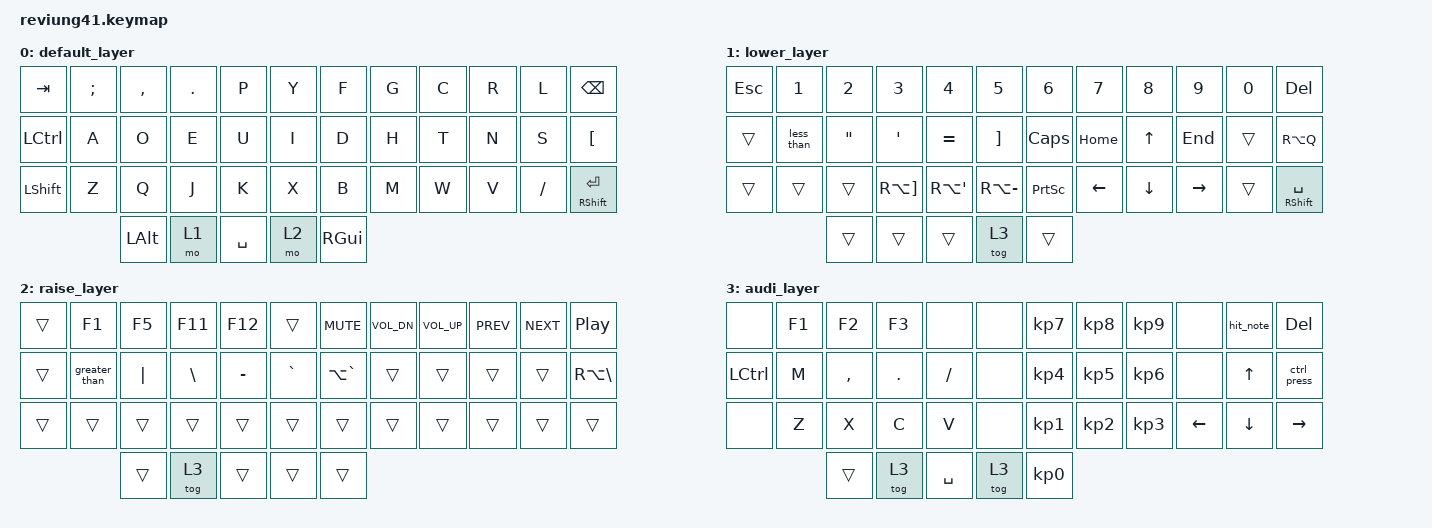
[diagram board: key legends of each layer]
/*
 * Copyright (c) 2020 The ZMK Contributors
 *
 * SPDX-License-Identifier: MIT
 */

#include <behaviors.dtsi>
#include <dt-bindings/zmk/keys.h>
#include <dt-bindings/zmk/bt.h>

/ {
    macros {
        less_than: less_than {
            label = "ZM_less_than";
            compatible = "zmk,behavior-macro";
            #binding-cells = <0>;
            bindings
                = <&macro_press   &kp LALT>
                , <&macro_tap     &kp KP_N6 &kp KP_N0>
                , <&macro_release &kp LALT>
                ;
        };
        greater_than: greater_than {
            label = "ZM_greater_than";
            compatible = "zmk,behavior-macro";
            #binding-cells = <0>;
            bindings
                = <&macro_press   &kp LALT>
                , <&macro_tap     &kp KP_N6 &kp KP_N2>
                , <&macro_release &kp LALT>
                ;
        };
        hit_note: hit_note {
            label = "ZM_hit_note";
            compatible = "zmk,behavior-macro";
            #binding-cells = <0>;
            bindings
                = <&macro_press   &kp LSHFT>
                , <&macro_tap &kp SPACE &kp UP>
                , <&macro_pause_for_release>
                , <&macro_release &kp LSHFT>
                ;
        };
        ctrl_press: ctrl_press {
            label = "ZM_ctrl_press";
            compatible = "zmk,behavior-macro";
            #binding-cells = <0>;
            bindings
                = <&macro_tap &kp LCTRL &kp RCTRL>
                , <&macro_tap &kp LCTRL &kp RCTRL>
                , <&macro_tap &kp LCTRL &kp RCTRL>
                , <&macro_tap &kp LCTRL &kp RCTRL>
                , <&macro_tap &kp LCTRL &kp RCTRL>
                , <&macro_tap &kp LCTRL &kp RCTRL>
                , <&macro_tap &kp LCTRL &kp RCTRL>
                , <&macro_tap &kp LCTRL &kp RCTRL>
                , <&macro_tap &kp LCTRL &kp RCTRL>
                , <&macro_tap &kp LCTRL &kp RCTRL>
                ;
        };
    };
};

/ {
        keymap {
                compatible = "zmk,keymap";

                default_layer {
// --------------------------------------------------------------------------------------
// |  TAB |  Ñ  |  ,  |  .  |  P  |  Y  |   |  F  |  G  |  C  |  R  |  L  |    BKSP     |
// | CTRL |  A  |  O  |  E  |  U  |  I  |   |  D  |  H  |  T  |  N  |  S  |      ´      |
// | SHFT |  Z  |  Q  |  J  |  K  |  X  |   |  B  |  M  |  W  |  V  |  -  | SHFT(ENTER) |
//                         | ALT | LWR | SPC | RSE  | WIN |
                        bindings = <
   &kp TAB   &kp SEMI &kp COMMA &kp DOT &kp P &kp Y   &kp F &kp G  &kp C  &kp R  &kp L    &kp BSPC
   &kp LCTRL &kp A    &kp O     &kp E   &kp U &kp I   &kp D &kp H  &kp T  &kp N  &kp S    &kp LBKT
   &kp LSHFT &kp Z    &kp Q     &kp J   &kp K &kp X   &kp B &kp M  &kp W  &kp V  &kp FSLH &mt RSHFT ENTER
                        &kp LALT  &mo 1 &kp SPACE &mo 2  &kp RGUI
                        >;
                };

                lower_layer {
// ----------------------------------------------------------------------------------------
// | ESC | 1 ! | 2 " | 3 # | 4 $ | 5 % |   | 6  & | 7 /  | 8 ( | 9 ) | 0 =  |     DEL     |
// |     |  <  |  [  |  {  |  ¿  | + * |   | CAPS | HOME | UP  | END |      |      @      |
// |     |     |     |  ~  |  ^  |  \  |   | PRSC | LFT  | DWN | RGT |      | SHFT(SPACE) |
//                        |     |     |     | ADJ |     |
                        bindings = <
   &kp ESC &kp N1     &kp N2      &kp N3       &kp N4        &kp N5         &kp N6    &kp N7    &kp N8    &kp N9    &kp N0    &kp DEL
   &trans  &less_than &kp DQT     &kp SQT      &kp EQUAL     &kp RBKT       &kp CLCK  &kp HOME  &kp UP    &kp END   &trans    &kp RA(Q)
   &trans  &trans     &trans      &kp RA(RBKT) &kp RA(SQT)   &kp RA(MINUS)  &kp PSCRN &kp LEFT  &kp DOWN  &kp RIGHT &trans    &mt RSHFT SPACE
                                 &trans      &trans       &trans         &tog 3       &trans
                        >;
                };

                raise_layer {
// ----------------------------------------------------------------------------------
// |    | F1  | F5  | F11 | F12 |     |   | MUTE | VOL- | VOL+ | PREV | NEXT | PLAY |
// |    |  >  |  ]  |  }  |  ?  | | ° |   | vSUG |      |      |      |      |  `   |
// |    |     |     |     |     |     |   |      |      |      |      |      |      |
//                       |     | ADJ |     |     |      |
                        bindings = <
   &trans &kp F1        &kp F5    &kp F11   &kp F12       &trans        &kp C_MUTE    &kp C_VOL_DN &kp C_VOL_UP &kp C_PREV &kp C_NEXT &kp C_PP
   &trans &greater_than &kp PIPE  &kp BSLH  &kp MINUS     &kp GRAVE     &kp LA(GRAVE) &trans       &trans       &trans     &trans     &kp RA(BSLH)
   &trans &trans        &trans    &trans    &trans        &trans        &trans        &trans       &trans       &trans     &trans     &trans
                                &trans      &tog 3       &trans          &trans      &trans
                        >;
                };

                audi_layer {
// ------------------------------------------------------------------------------
// |      | F1  | F2  | F3  |     |     |   |  7  |  8  |  9  |     | HIT | DEL  |
// | CTRL |  M  |  ;  |  :  |  _  |     |   |  4  |  5  |  6  |     | UP  | CTRL |
// |      |  Z  |  X  |  C  |  V  |     |   |  1  |  2  |  3  | LFT | DWN | RGT  |
//                         |     |     | SPC |     |  0  |
                        bindings = <
   &none     &kp F1 &kp F2    &kp F3  &none    &none    &kp KP_N7 &kp KP_N8 &kp KP_N9 &none     &hit_note &kp DEL
   &kp LCTRL &kp M  &kp COMMA &kp DOT &kp FSLH &none    &kp KP_N4 &kp KP_N5 &kp KP_N6 &none     &kp UP    &ctrl_press
   &none     &kp Z  &kp X     &kp C   &kp V    &none    &kp KP_N1 &kp KP_N2 &kp KP_N3 &kp LEFT  &kp DOWN  &kp RIGHT
            &trans      &tog 3       &kp SPACE       &tog 3      &kp KP_N0
                        >;
                };
        };
};
